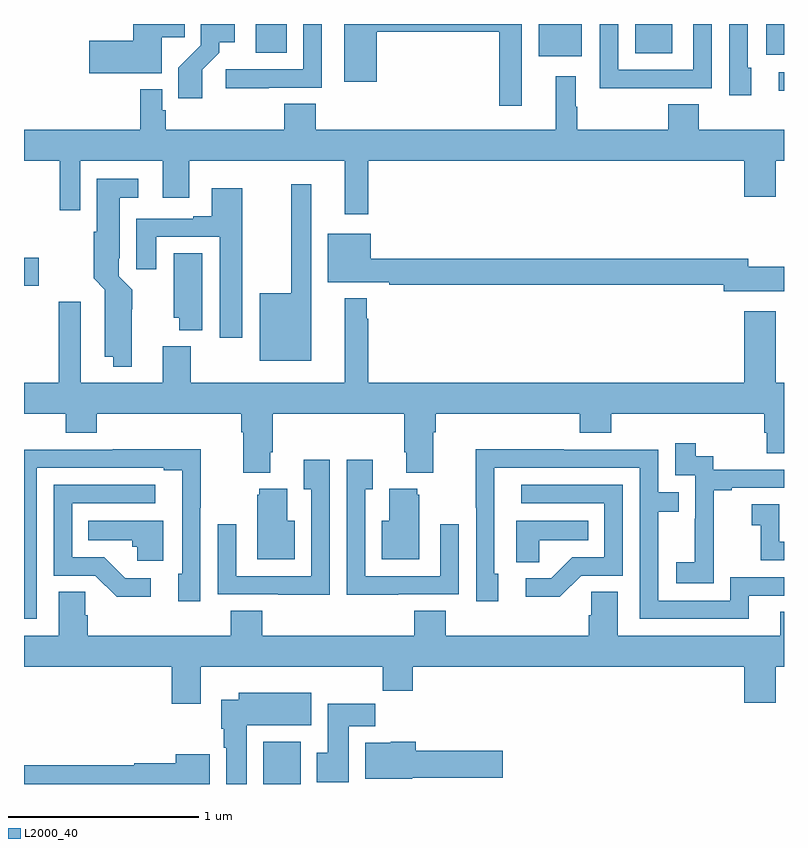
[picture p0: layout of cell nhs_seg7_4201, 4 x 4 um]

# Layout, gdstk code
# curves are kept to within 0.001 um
import gdstk
lib = gdstk.Library(unit=1e-6, precision=1e-09)
def R(c, l, rs):  # rectangles x0, y0, x1, y1
    for r in rs: c.add(gdstk.rectangle(r[:2], r[2:], *l))
def P(c, l, *ps):  # polygons
    for p in ps: c.add(gdstk.Polygon(p, *l))
L2000_40 = (2000, 40)

nhs_seg7_4201 = lib.new_cell('nhs_seg7_4201')
R(nhs_seg7_4201, L2000_40, [(378.26,1000,378.457,1000.222), (377,1002.623,377.077,1002.77), (380.973,1003.649,381,1003.746), (379.709,1003.829,379.936,1004), (380.906,1003.838,381,1004), (380.216,1003.847,380.413,1004), (378.221,1003.848,378.382,1004)])
P(nhs_seg7_4201, L2000_40, [(377.938,1003.759),(378.028,1003.849),(378.028,1003.904),(378.109,1003.904),(378.109,1004),(377.931,1004),(377.931,1003.889),(377.812,1003.77),(377.812,1003.608),(377.938,1003.608)],
  [(377.725,1003.93),(377.846,1003.93),(377.846,1004),(377.576,1004),(377.576,1003.913),(377.343,1003.913),(377.343,1003.742),(377.725,1003.742)],
  [(380.303,1003.662),(380.619,1003.662),(380.619,1004),(380.523,1004),(380.523,1003.758),(380.127,1003.758),(380.127,1004),(380.031,1004),(380.031,1003.661),(380.303,1003.661)],
  [(380.827,1003.77),(380.808,1003.77),(380.808,1004),(380.712,1004),(380.712,1003.626),(380.827,1003.626)],
  [(378.287,1003.665),(378.567,1003.665),(378.567,1004),(378.471,1004),(378.471,1003.761),(378.063,1003.761),(378.063,1003.663),(378.287,1003.663)],
  [(379.621,1004),(378.686,1004),(378.686,1003.695),(378.857,1003.695),(378.857,1003.96),(379.5,1003.96),(379.5,1003.569),(379.621,1003.569)],
  [(377.729,1003.086),(377.869,1003.086),(377.869,1003.28),(378.689,1003.28),(378.689,1002.999),(378.811,1002.999),(378.811,1003.28),(380.792,1003.28),(380.792,1003.092),(380.956,1003.092),(380.956,1003.28),(381,1003.28),(381,1003.444),(380.552,1003.444),(380.552,1003.577),(380.392,1003.577),(380.392,1003.444),(379.913,1003.444),(379.913,1003.565),(379.903,1003.565),(379.903,1003.726),(379.799,1003.726),(379.799,1003.444),(378.536,1003.444),(378.536,1003.58),(378.371,1003.58),(378.371,1003.444),(377.747,1003.444),(377.747,1003.545),(377.727,1003.545),(377.727,1003.657),(377.611,1003.657),(377.611,1003.444),(377,1003.444),(377,1003.28),(377.187,1003.28),(377.187,1003.02),(377.295,1003.02),(377.295,1003.28),(377.729,1003.28)],
  [(377.568,1002.5),(377.569,1002.602),(377.499,1002.672),(377.499,1002.766),(377.503,1002.766),(377.503,1003.085),(377.602,1003.085),(377.602,1003.186),(377.384,1003.186),(377.384,1002.906),(377.366,1002.906),(377.366,1002.661),(377.426,1002.602),(377.426,1002.248),(377.471,1002.248),(377.471,1002.197),(377.568,1002.197)],
  [(378.511,1003.156),(378.407,1003.156),(378.407,1002.583),(378.242,1002.583),(378.242,1002.227),(378.511,1002.227)],
  [(378.148,1003.135),(377.987,1003.135),(377.987,1002.988),(377.891,1002.988),(377.891,1002.975),(377.591,1002.975),(377.591,1002.708),(377.695,1002.708),(377.695,1002.879),(378.029,1002.879),(378.029,1002.348),(378.148,1002.348)],
  [(381,1002.723),(380.812,1002.723),(380.812,1002.764),(378.826,1002.764),(378.826,1002.895),(378.599,1002.895),(378.599,1002.641),(378.922,1002.641),(378.922,1002.628),(380.684,1002.628),(380.684,1002.593),(381,1002.593)],
  [(377.938,1002.794),(377.789,1002.794),(377.789,1002.453),(377.816,1002.453),(377.816,1002.389),(377.938,1002.389)],
  [(378.689,1002.556),(378.689,1002.112),(377.877,1002.112),(377.877,1002.304),(377.729,1002.304),(377.729,1002.112),(377.299,1002.112),(377.299,1002.538),(377.182,1002.538),(377.182,1002.112),(377,1002.112),(377,1001.948),(377.219,1001.948),(377.219,1001.849),(377.384,1001.849),(377.384,1001.948),(378.143,1001.948),(378.143,1001.852),(378.155,1001.852),(378.155,1001.639),(378.295,1001.639),(378.295,1001.746),(378.308,1001.746),(378.308,1001.948),(379.001,1001.948),(379.001,1001.746),(379.013,1001.746),(379.013,1001.639),(379.153,1001.639),(379.153,1001.852),(379.166,1001.852),(379.166,1001.948),(379.925,1001.948),(379.925,1001.849),(380.09,1001.849),(380.09,1001.948),(380.897,1001.948),(380.897,1001.85),(380.909,1001.85),(380.909,1001.74),(381,1001.74),(381,1002.112),(380.956,1002.112),(380.956,1002.487),(380.792,1002.487),(380.792,1002.112),(378.811,1002.112),(378.811,1002.449),(378.804,1002.449),(378.804,1002.556)],
  [(380.631,1001.263),(380.63,1001.263),(380.63,1001.547),(380.725,1001.547),(380.725,1001.559),(381,1001.559),(381,1001.655),(380.628,1001.655),(380.628,1001.724),(380.536,1001.724),(380.536,1001.794),(380.427,1001.794),(380.427,1001.625),(380.532,1001.625),(380.532,1001.396),(380.531,1001.396),(380.531,1001.167),(380.433,1001.167),(380.433,1001.057),(380.631,1001.057)],
  [(377.067,1001.664),(377.735,1001.664),(377.735,1001.652),(377.832,1001.652),(377.832,1001.106),(377.813,1001.106),(377.813,1000.962),(377.928,1000.962),(377.928,1001.455),(377.931,1001.455),(377.931,1001.762),(377.467,1001.762),(377.467,1001.76),(377,1001.76),(377,1000.869),(377.067,1000.869)],
  [(380.815,1000.992),(381,1000.992),(381,1001.088),(380.718,1001.088),(380.718,1000.965),(380.337,1000.965),(380.337,1001.434),(380.447,1001.434),(380.447,1001.535),(380.337,1001.535),(380.337,1001.76),(379.841,1001.76),(379.841,1001.762),(379.378,1001.762),(379.378,1001.455),(379.38,1001.455),(379.38,1000.962),(379.495,1000.962),(379.495,1001.106),(379.476,1001.106),(379.476,1001.664),(380.241,1001.664),(380.241,1000.869),(380.815,1000.869)],
  [(378.971,1000.998),(379.287,1000.998),(379.287,1001.368),(379.191,1001.368),(379.191,1001.094),(378.795,1001.094),(378.795,1001.551),(378.835,1001.551),(378.835,1001.707),(378.699,1001.707),(378.699,1000.997),(378.971,1000.997)],
  [(378.609,1001.707),(378.473,1001.707),(378.473,1001.551),(378.513,1001.551),(378.513,1001.094),(378.117,1001.094),(378.117,1001.368),(378.021,1001.368),(378.021,1000.998),(378.337,1000.998),(378.337,1000.997),(378.609,1000.997)],
  [(377.668,1001.082),(377.533,1001.082),(377.422,1001.193),(377.253,1001.193),(377.253,1001.478),(377.692,1001.478),(377.692,1001.574),(377.157,1001.574),(377.157,1001.097),(377.376,1001.097),(377.489,1000.985),(377.668,1000.985)],
  [(379.932,1001.097),(380.151,1001.097),(380.151,1001.574),(379.617,1001.574),(379.617,1001.478),(380.055,1001.478),(380.055,1001.193),(379.886,1001.193),(379.775,1001.082),(379.641,1001.082),(379.641,1000.985),(379.819,1000.985)],
  [(379.081,1001.523),(379.07,1001.523),(379.07,1001.554),(378.923,1001.554),(378.923,1001.386),(378.884,1001.386),(378.884,1001.183),(379.081,1001.183)],
  [(378.424,1001.386),(378.385,1001.386),(378.385,1001.554),(378.239,1001.554),(378.239,1001.523),(378.227,1001.523),(378.227,1001.183),(378.424,1001.183)],
  [(381,1001.274),(380.976,1001.274),(380.976,1001.473),(380.829,1001.473),(380.829,1001.363),(380.878,1001.363),(380.878,1001.178),(381,1001.178)],
  [(377.734,1001.386),(377.338,1001.386),(377.338,1001.282),(377.569,1001.282),(377.569,1001.25),(377.595,1001.25),(377.595,1001.174),(377.734,1001.174)],
  [(379.713,1001.282),(379.97,1001.282),(379.97,1001.386),(379.592,1001.386),(379.592,1001.167),(379.713,1001.167)],
  [(378.254,1000.913),(378.089,1000.913),(378.089,1000.78),(377.336,1000.78),(377.336,1000.889),(377.322,1000.889),(377.322,1001.012),(377.183,1001.012),(377.183,1000.78),(377,1000.78),(377,1000.616),(377.777,1000.616),(377.777,1000.422),(377.929,1000.422),(377.929,1000.616),(378.889,1000.616),(378.889,1000.492),(379.046,1000.492),(379.046,1000.616),(380.792,1000.616),(380.792,1000.428),(380.956,1000.428),(380.956,1000.616),(381,1000.616),(381,1000.907),(380.981,1000.907),(380.981,1000.78),(380.125,1000.78),(380.125,1001.012),(379.986,1001.012),(379.986,1000.889),(379.973,1000.889),(379.973,1000.78),(379.22,1000.78),(379.22,1000.913),(379.055,1000.913),(379.055,1000.78),(378.254,1000.78)],
  [(378.172,1000.31),(378.511,1000.31),(378.511,1000.48),(378.131,1000.48),(378.131,1000.444),(378.038,1000.444),(378.038,1000.29),(378.05,1000.29),(378.05,1000.19),(378.065,1000.19),(378.065,1000),(378.172,1000)],
  [(378.709,1000.304),(378.848,1000.304),(378.848,1000.422),(378.599,1000.422),(378.599,1000.164),(378.542,1000.164),(378.542,1000.008),(378.709,1000.008)],
  [(379.044,1000.034),(379.519,1000.034),(379.519,1000.176),(379.061,1000.176),(379.061,1000.222),(378.93,1000.222),(378.93,1000.216),(378.797,1000.216),(378.797,1000.028),(379.044,1000.028)],
  [(377.977,1000.156),(377.798,1000.156),(377.798,1000.108),(377.58,1000.108),(377.58,1000.1),(377,1000.1),(377,1000),(377.977,1000)])

lib.write_gds('nhs_seg7_4201.gds')
